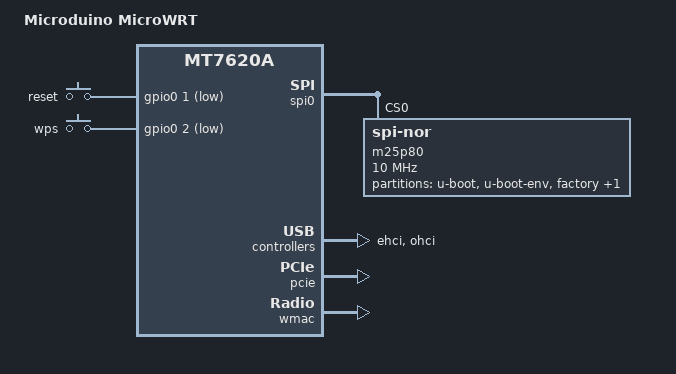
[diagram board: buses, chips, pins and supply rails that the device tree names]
/dts-v1/;

#include "mt7620a.dtsi"

/ {
	compatible = "microwrt", "ralink,mt7620a-soc";
	model = "Microduino MicroWRT";

	chosen {
		bootargs = "console=ttyS0,115200";
	};

	gpio-keys-polled {
		compatible = "gpio-keys-polled";
		#address-cells = <1>;
		#size-cells = <0>;
		poll-interval = <20>;

		reset {
			label = "reset";
			gpios = <&gpio0 1 1>;
			linux,code = <0x198>;
		};

		wps {
			label = "wps";
			gpios = <&gpio0 2 1>;
			linux,code = <0x211>;
		};
	};
};

&gpio2 {
	status = "okay";
};

&gpio3 {
	status = "okay";
};

&spi0 {
	status = "okay";

	m25p80@0 {
		#address-cells = <1>;
		#size-cells = <1>;
		compatible = "jedec,spi-nor";
		reg = <0>;
		linux,modalias = "m25p80", "w25q128";
		spi-max-frequency = <10000000>;

		partition@0 {
			label = "u-boot";
			reg = <0x0 0x20000>;
			read-only;
		};

		partition@20000 {
			label = "u-boot-env";
			reg = <0x20000 0x10000>;
			read-only;
		};

		factory: partition@30000 {
			label = "factory";
			reg = <0x30000 0x10000>;
			read-only;
		};

		partition@40000 {
			label = "firmware";
			reg = <0x40000 0xfc0000>;
		};
	};
};

&ehci {
	status = "okay";
};

&ohci {
	status = "okay";
};

&pcie {
	status = "okay";
};

&ethernet {
	pinctrl-names = "default";
	pinctrl-0 = <&ephy_pins>;
	mtd-mac-address = <&factory 0x4>;
	mediatek,portmap = "llllw";
};

&wmac {
	ralink,mtd-eeprom = <&factory 0>;
};

&pinctrl {
	state_default: pinctrl0 {
		default {
			ralink,group = "wled", "i2c", "wdt", "uartf";
			ralink,function = "gpio";
		};
	};
};
